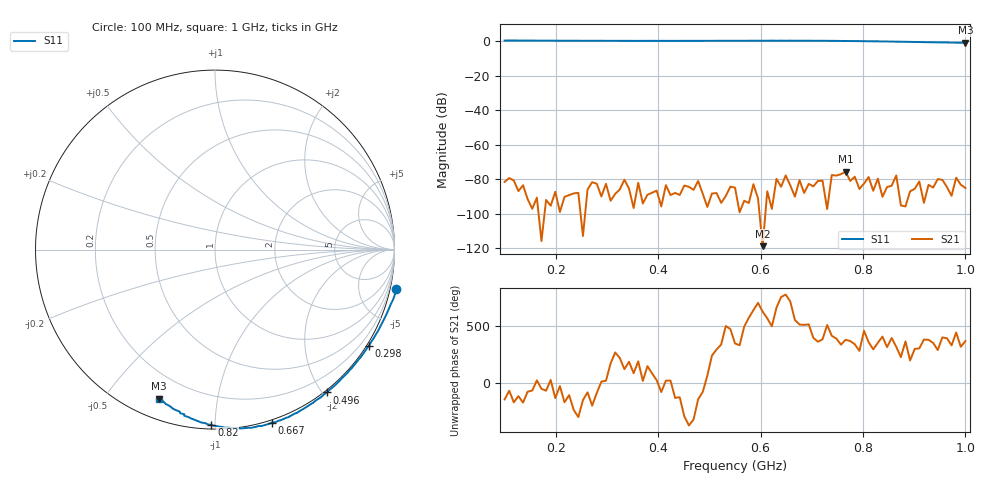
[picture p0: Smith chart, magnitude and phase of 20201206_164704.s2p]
# HZ S RI R 50
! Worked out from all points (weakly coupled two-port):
!   101 points, 100 MHz to 1 GHz, reference 50 ohm
!   highest |S21| = -75.66 dB at 766 MHz (marker M1); lowest = -118.8 dB at 604 MHz (marker M2)
!   lowest |S11| = -1.0 dB at 1 GHz (marker M3), VSWR 16.77, Z = 4.41 - j34.5 ohm
!   |S11| at or under -10 dB: nowhere
!   S12 and S22 are empty: the file has one direction only
!   S11 on the Smith chart (normalised r, x): 100 MHz: -1.35, -9.17; 298 MHz: -0.07, -3.48; 496 MHz: -0.03, -2.05; 667 MHz: -0.02, -1.38; 820 MHz: 0.02, -0.98; 1 GHz: 0.09, -0.69
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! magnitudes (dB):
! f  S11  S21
! 100 MHz  0.3  -81.6
! 253 MHz  0.1  -112.9
! 298 MHz  0.1  -82.7
! 406 MHz  0.1  -95.8
! 496 MHz  0.1  -96.1
! 550 MHz  0.1  -84.9
! 604 MHz  0.1  -118.8
! 640 MHz  0.2  -84.4
! 649 MHz  0.2  -77.8
! 658 MHz  0.2  -83.6
! 667 MHz  0.1  -90.1
! 703 MHz  0.1  -84.2
! 730 MHz  0.1  -97.3
! 739 MHz  0.1  -77.6
! 766 MHz  0.0  -75.7
! 775 MHz  0.0  -81.0
! 784 MHz  -0.1  -78.6
! 820 MHz  -0.2  -86.7
! 856 MHz  -0.4  -83.8
! 865 MHz  -0.4  -77.8
! 874 MHz  -0.4  -95.2
! 1 GHz  -1.0  -85.1
